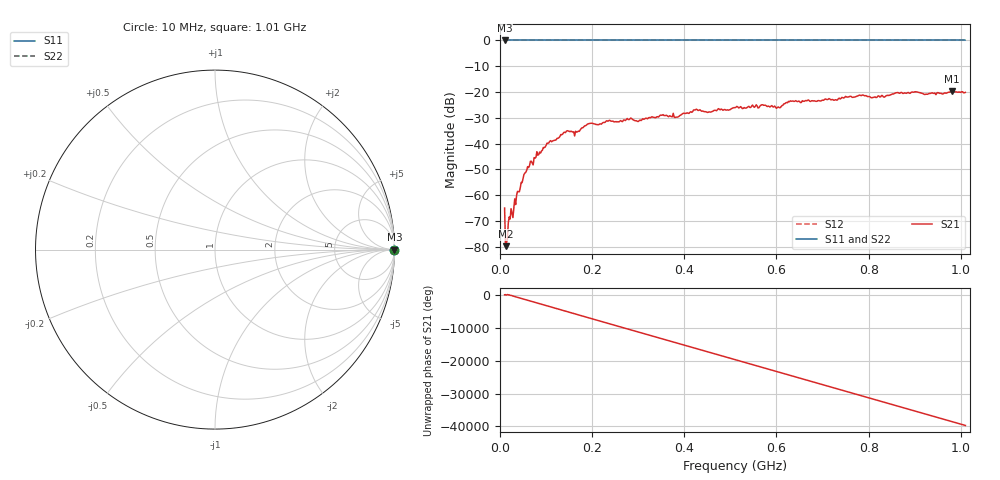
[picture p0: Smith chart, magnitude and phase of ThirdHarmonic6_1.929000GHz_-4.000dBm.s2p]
! 8/16/2025 11:14:54 PM
! C:\ANRITSUVNA\TEMP\TEMP.S2P
! CHANNEL.1
! TR.MEASUREMENT
! RAW.DATA
! RF.CORRECTION.OFF
! AVERAGING.OFF
! IF.BANDWIDTH: 5KHZ
! SWEEPTYPE:  FREQ.SWEEP(Linear)
! Reference Plane Port Info
! PORT:  PORT1  PORT2
! DISTANCE:  0  m  0  m
! TIME:  0  s  0  s
! PHASE.OFFSET:  0  deg.  0  deg.
! LOSS:  0  dB  0  dB
! REF.LOSS:  0  dB  0  dB
! REF.FREQ:  0  Hz  0  Hz
! Power Info
! POWER:  -20  dBm  -20  dBm
! EFF.POWER:  -20  dBm  -20  dBm
! SOURCE.ATTEN:  0  dB  0  dB
! TEST.ATTEN:  0  dB  0  dB
# GHZ S RI R 50.0
! FREQ.GHZ  S11RE  S11IM  S21RE  S21IM  S12RE  S12IM  S22RE  S22IM
!; PortSelection: Port_12
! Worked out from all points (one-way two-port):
!   501 points, 10 MHz to 1.01 GHz, reference 50 ohm
!   highest |S21| = -19.67 dB at 980 MHz (marker M1); lowest = -79.7 dB at 12 MHz (marker M2)
!   lowest |S11| = 0.0 dB at 10 MHz (marker M3)
!   |S11| at or under -10 dB: nowhere
!   |S22| runs from 0.0 to 0.0 dB; largest |S21 - S12| = 1.1
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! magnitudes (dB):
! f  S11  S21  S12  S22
! 10 MHz  0.0  -65.0  0.0  0.0
! 12 MHz  0.0  -79.7  0.0  0.0
! 16 MHz  0.0  -77.0  0.0  0.0
! 22 MHz  0.0  -69.2  0.0  0.0
! 30 MHz  0.0  -65.1  0.0  0.0
! 36 MHz  0.0  -60.0  0.0  0.0
! 50 MHz  0.0  -53.5  0.0  0.0
! 78 MHz  0.0  -45.3  0.0  0.0
! 106 MHz  0.0  -39.7  0.0  0.0
! 142 MHz  0.0  -35.7  0.0  0.0
! 166 MHz  0.0  -35.5  0.0  0.0
! 178 MHz  0.0  -33.8  0.0  0.0
! 196 MHz  0.0  -32.1  0.0  0.0
! 344 MHz  0.0  -29.7  0.0  0.0
! 382 MHz  0.0  -29.7  0.0  0.0
! 510 MHz  0.0  -26.0  0.0  0.0
! 604 MHz  0.0  -25.8  0.0  0.0
! 630 MHz  0.0  -23.4  0.0  0.0
! 678 MHz  0.0  -23.4  0.0  0.0
! 844 MHz  0.0  -21.3  0.0  0.0
! 980 MHz  0.0  -19.7  0.0  0.0
! 1.01 GHz  0.0  -20.1  0.0  0.0
